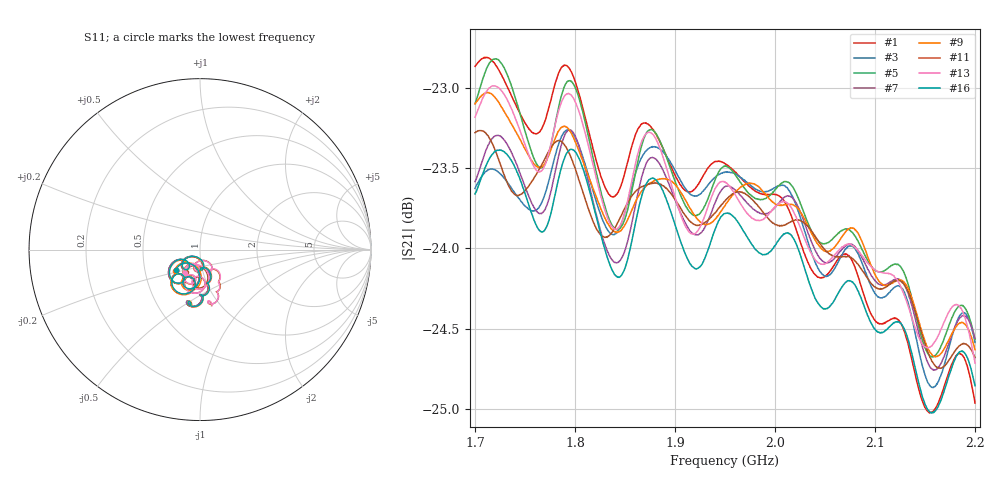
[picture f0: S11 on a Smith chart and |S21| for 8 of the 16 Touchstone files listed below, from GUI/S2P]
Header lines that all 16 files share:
# Hz S RI R 50
! CMT, CMT808U, 21440046, 21.4.3/4
! Data: Format (Calibration Info)
! Freq	S11:Re/Im(F2)	S41:Re/Im(F2)	S14:Re/Im(F2)	S44:Re/Im(F2)
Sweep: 1.7 GHz to 2.2 GHz
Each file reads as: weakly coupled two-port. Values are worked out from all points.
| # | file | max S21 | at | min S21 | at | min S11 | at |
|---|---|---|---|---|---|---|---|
| 1 | Port1.s2p | -22.81 dB | 1.71 GHz | -25.0 dB | 2.155 GHz | -25.9 dB | 1.982 GHz |
| 2 | Port2.s2p | -23.08 dB | 1.788 GHz | -24.8 dB | 2.152 GHz | -24.1 dB | 1.975 GHz |
| 3 | Port3.s2p | -23.26 dB | 1.792 GHz | -24.9 dB | 2.159 GHz | -26.0 dB | 1.982 GHz |
| 4 | Port4.s2p | -23.36 dB | 1.79 GHz | -25.0 dB | 2.152 GHz | -23.9 dB | 1.975 GHz |
| 5 | Port5.s2p | -22.82 dB | 1.72 GHz | -24.7 dB | 2.157 GHz | -26.1 dB | 1.982 GHz |
| 6 | Port6.s2p | -23.12 dB | 1.722 GHz | -24.7 dB | 2.159 GHz | -26.2 dB | 1.982 GHz |
| 7 | Port7.s2p | -23.26 dB | 1.794 GHz | -24.8 dB | 2.159 GHz | -26.2 dB | 1.982 GHz |
| 8 | Port8.s2p | -24.59 dB | 1.72 GHz | -27.0 dB | 2.16 GHz | -26.7 dB | 1.982 GHz |
| 9 | Port9.s2p | -23.03 dB | 1.712 GHz | -24.7 dB | 2.16 GHz | -25.9 dB | 1.982 GHz |
| 10 | Port10.s2p | -23.22 dB | 1.706 GHz | -24.7 dB | 2.163 GHz | -23.9 dB | 1.974 GHz |
| 11 | Port11.s2p | -23.27 dB | 1.706 GHz | -24.7 dB | 2.166 GHz | -23.9 dB | 1.974 GHz |
| 12 | Port12.s2p | -23.41 dB | 1.719 GHz | -24.7 dB | 2.162 GHz | -23.8 dB | 1.974 GHz |
| 13 | Port13.s2p | -22.99 dB | 1.718 GHz | -24.7 dB | 2.2 GHz | -23.7 dB | 1.974 GHz |
| 14 | Port14.s2p | -23.18 dB | 1.797 GHz | -24.8 dB | 2.155 GHz | -23.7 dB | 1.974 GHz |
| 15 | Port15.s2p | -23.35 dB | 1.796 GHz | -25.0 dB | 2.158 GHz | -26.6 dB | 1.982 GHz |
| 16 | Port16.s2p | -23.38 dB | 1.796 GHz | -25.0 dB | 2.156 GHz | -26.5 dB | 1.982 GHz |
